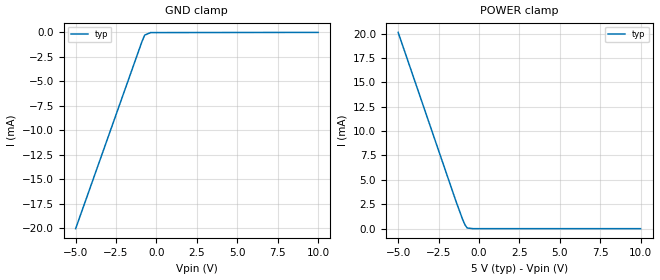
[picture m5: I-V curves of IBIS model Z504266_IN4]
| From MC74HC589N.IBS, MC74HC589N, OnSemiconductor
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| (C) COPYRIGHT 1993-2000
| MENTOR GRAPHICS CORPORATION
| ICX STANDARD LIBRARY, ICX PROJECT MODELING,
| ICX CUSTOM MODELING, ICX VENDOR MODEL
| ALL RIGHTS RESERVED.
| THE FOLLOWING ARE TRADEMARKS OR SERVICE MARKS OF
| MENTOR GRAPHICS CORPORATION:ICX (R), ICX STANDARD
| LIBRARY(R), ICX PROJECT MODELING(R), ICX CUSTOM
| MODELING(R), qualityIBIS(TM), MODELVIEWER(TM),
| AND MODELEDITOR(TM)
| ALL COPIES OF SOFTWARE, INCLUDING BUT NOT LIMITED TO
| ANY MODIFICATIONS, ENHANCEMENTS OR DERIVATIVE WORKS,
| MUST CONTAIN ALL MENTOR GRAPHICS CORPORATION'S
| NOTICES AND LEGENDS, INCLUDING THOSE EMBEDDED IN
| SOFTWARE AND THOSE AFFIXED TO SOFTWARE MEDIUM
| AND CONTAINER, AS RECEIVED FROM MENTOR GRAPHICS
| CORPORATION.
| Model Application Version 1.89 2/18/99.
[Model] Z504266_IN4
Model_type Input
Vinl = 1.000V
Vinh = 3.500V
C_comp 4.000pF NA NA
| variable typ   min   max
[Voltage Range] 5.000V NA NA
[GND Clamp Reference] 0.000V NA NA
[POWER Clamp Reference] 5.000V NA NA
[GND Clamp]
-5V       -20.05mA   NA         NA
-898.2mV  -936.1uA   NA         NA
-728.5mV  -269.9uA   NA         NA
-364.3mV  -10.88uA   NA         NA
10V       8.59uA     NA         NA
[POWER Clamp]
-5V       20.12mA    NA         NA
-1.405V   2.725mA    NA         NA
-1.004V   919.9uA    NA         NA
-868mV    405.3uA    NA         NA
-730mV    69.08uA    NA         NA
-365mV    0A         NA         NA
10V       0A         NA         NA
